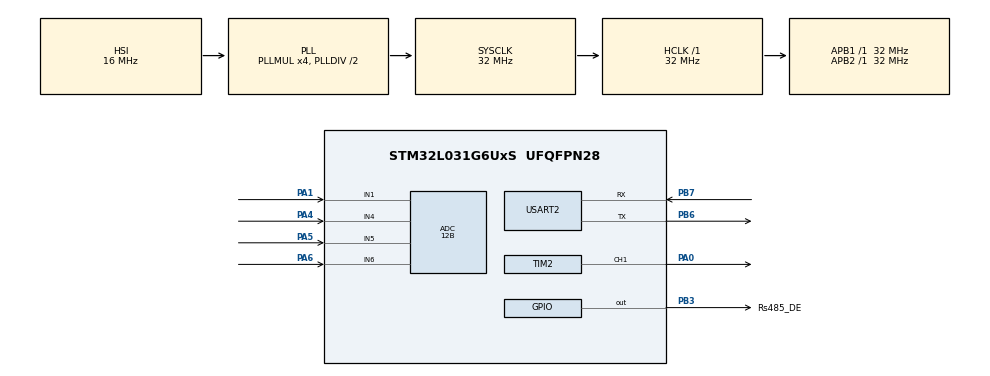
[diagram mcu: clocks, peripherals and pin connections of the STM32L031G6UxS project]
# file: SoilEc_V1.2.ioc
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ADC.ClockPrescaler=ADC_CLOCK_SYNC_PCLK_DIV2
ADC.ContinuousConvMode=DISABLE
ADC.DMAContinuousRequests=DISABLE
ADC.DataAlign=ADC_DATAALIGN_RIGHT
ADC.DiscontinuousConvMode=DISABLE
ADC.EOCSelection=ADC_EOC_SINGLE_CONV
ADC.EnableAnalogWatchDog=false
ADC.ExternalTrigConv=ADC_SOFTWARE_START
ADC.ExternalTrigConvEdge=ADC_EXTERNALTRIGCONVEDGE_NONE
ADC.LowPowerAutoPowerOff=DISABLE
ADC.LowPowerAutoWait=DISABLE
ADC.LowPowerFrequencyMode=DISABLE
ADC.Overrun=ADC_OVR_DATA_PRESERVED
ADC.OversamplingMode=DISABLE
ADC.Resolution=ADC_RESOLUTION_12B
ADC.SamplingTime=ADC_SAMPLETIME_19CYCLES_5
ADC.ScanConvMode=ADC_SCAN_DIRECTION_FORWARD
Dma.ADC.1.Direction=DMA_PERIPH_TO_MEMORY
Dma.ADC.1.Instance=DMA1_Channel1
Dma.ADC.1.MemDataAlignment=DMA_MDATAALIGN_WORD
Dma.ADC.1.MemInc=DMA_MINC_ENABLE
Dma.ADC.1.Mode=DMA_NORMAL
Dma.ADC.1.PeriphDataAlignment=DMA_PDATAALIGN_WORD
Dma.ADC.1.PeriphInc=DMA_PINC_DISABLE
Dma.ADC.1.Priority=DMA_PRIORITY_LOW
Dma.Request0=USART2_RX
Dma.Request1=ADC
Dma.USART2_RX.0.Direction=DMA_PERIPH_TO_MEMORY
Dma.USART2_RX.0.Instance=DMA1_Channel5
Dma.USART2_RX.0.MemDataAlignment=DMA_MDATAALIGN_BYTE
Dma.USART2_RX.0.MemInc=DMA_MINC_ENABLE
Dma.USART2_RX.0.Mode=DMA_NORMAL
Dma.USART2_RX.0.PeriphDataAlignment=DMA_PDATAALIGN_BYTE
Dma.USART2_RX.0.PeriphInc=DMA_PINC_DISABLE
Dma.USART2_RX.0.Priority=DMA_PRIORITY_LOW
Mcu.Family=STM32L0
Mcu.Name=STM32L031G6UxS
Mcu.Package=UFQFPN28
NVIC.DMA1_Channel1_IRQn=true\:0\:0\:false\:true\:true\:1\:false
NVIC.DMA1_Channel4_5_6_7_IRQn=true\:0\:0\:false\:true\:true\:2\:false
NVIC.TIM2_IRQn=true\:2\:0\:true\:false\:true\:true
NVIC.USART2_IRQn=true\:1\:0\:true\:false\:true\:true
PA0-CK_IN.Signal=S_TIM2_CH1
PA1.Mode=IN1
PA1.Signal=ADC_IN1
PA13.Mode=Serial_Wire
PA13.Signal=SYS_SWDIO
PA14.Mode=Serial_Wire
PA14.Signal=SYS_SWCLK
PA4.Mode=IN4
PA4.Signal=ADC_IN4
PA5.Mode=IN5
PA5.Signal=ADC_IN5
PA6.Mode=IN6
PA6.Signal=ADC_IN6
PB3.GPIO_Label=Rs485_DE
PB3.GPIO_Speed=GPIO_SPEED_FREQ_HIGH
PB3.Signal=GPIO_Output
PB6.Mode=Asynchronous
PB6.Signal=USART2_TX
PB7.Mode=Asynchronous
PB7.Signal=USART2_RX
ProjectManager.HeapSize=0x200
ProjectManager.StackSize=0x400
ProjectManager.TargetToolchain=MDK-ARM V5
RCC.AHBFreq_Value=32000000
RCC.APB1Freq_Value=32000000
RCC.APB1TimFreq_Value=32000000
RCC.APB2Freq_Value=32000000
RCC.APB2TimFreq_Value=32000000
RCC.HCLKFreq_Value=32000000
RCC.HSE_VALUE=8000000
RCC.HSI16_VALUE=16000000
RCC.HSI_VALUE=16000000
RCC.LSE_VALUE=32768
RCC.MSI_VALUE=2097000
RCC.PLLMUL=RCC_PLLMUL_4
RCC.SYSCLKFreq_VALUE=32000000
RCC.SYSCLKSource=RCC_SYSCLKSOURCE_PLLCLK
RCC.VCOOutputFreq_Value=64000000
SH.S_TIM2_CH1.0=TIM2_CH1,PWM Generation1 CH1
TIM2.Channel-PWM\ Generation1\ CH1=TIM_CHANNEL_1
TIM2.Period=200-1
TIM2.Prescaler=400-1
TIM2.Pulse-PWM\ Generation1\ CH1=199/10
USART2.VirtualMode-Asynchronous=VM_ASYNC
VP_ADC_Vref_Input.Mode=IN-Vrefint
VP_TIM2_VS_ClockSourceINT.Mode=Internal
board=custom

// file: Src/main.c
/**
  ******************************************************************************
  * @file           : main.c
  * @brief          : Main program body
  ******************************************************************************
  ** This notice applies to any and all portions of this file
  * that are not between comment pairs USER CODE BEGIN and
  * USER CODE END. Other portions of this file, whether
  * inserted by the user or by software development tools
  * are owned by their respective copyright owners.
  *
  * COPYRIGHT(c) 2018 STMicroelectronics
  *
  * Redistribution and use in source and binary forms, with or without modification,
  * are permitted provided that the following conditions are met:
  *   1. Redistributions of source code must retain the above copyright notice,
  *      this list of conditions and the following disclaimer.
  *   2. Redistributions in binary form must reproduce the above copyright notice,
  *      this list of conditions and the following disclaimer in the documentation
  *      and/or other materials provided with the distribution.
  *   3. Neither the name of STMicroelectronics nor the names of its contributors
  *      may be used to endorse or promote products derived from this software
  *      without specific prior written permission.
  *
  * THIS SOFTWARE IS PROVIDED BY THE COPYRIGHT HOLDERS AND CONTRIBUTORS "AS IS"
  * AND ANY EXPRESS OR IMPLIED WARRANTIES, INCLUDING, BUT NOT LIMITED TO, THE
  * IMPLIED WARRANTIES OF MERCHANTABILITY AND FITNESS FOR A PARTICULAR PURPOSE ARE
  * DISCLAIMED. IN NO EVENT SHALL THE COPYRIGHT HOLDER OR CONTRIBUTORS BE LIABLE
  * FOR ANY DIRECT, INDIRECT, INCIDENTAL, SPECIAL, EXEMPLARY, OR CONSEQUENTIAL
  * DAMAGES (INCLUDING, BUT NOT LIMITED TO, PROCUREMENT OF SUBSTITUTE GOODS OR
  * SERVICES; LOSS OF USE, DATA, OR PROFITS; OR BUSINESS INTERRUPTION) HOWEVER
  * CAUSED AND ON ANY THEORY OF LIABILITY, WHETHER IN CONTRACT, STRICT LIABILITY,
  * OR TORT (INCLUDING NEGLIGENCE OR OTHERWISE) ARISING IN ANY WAY OUT OF THE USE
  * OF THIS SOFTWARE, EVEN IF ADVISED OF THE POSSIBILITY OF SUCH DAMAGE.
  *
  ******************************************************************************
  */
#include "main.h"
#include "stm32l0xx_hal.h"
#include "adc.h"
#include "dma.h"
#include "tim.h"
#include "usart.h"
#include "gpio.h"

/* USER CODE BEGIN Includes */

#include <string.h>
#include <math.h>

#include "user_app.h"

/* USER CODE END Includes */

/* USER CODE BEGIN PV */
/* Private variables ---------------------------------------------------------*/

/* USER CODE END PV */

void SystemClock_Config(void);
static void MX_NVIC_Init(void);

/* USER CODE BEGIN PFP */
/* Private function prototypes -----------------------------------------------*/

/* USER CODE END PFP */

int main(void)
{
  /* USER CODE BEGIN 1 */
	uint32_t Time = 0;

  /* USER CODE END 1 */

  /* MCU Configuration----------------------------------------------------------*/

  /* Reset of all peripherals, Initializes the Flash interface and the Systick. */
  HAL_Init();

  /* Configure the system clock */
  SystemClock_Config();

  /* Initialize all configured peripherals */
  MX_GPIO_Init();
  MX_DMA_Init();
  MX_USART2_UART_Init();
  MX_ADC_Init();
  MX_TIM2_Init();

  /* Initialize interrupts */
  MX_NVIC_Init();
  /* USER CODE BEGIN 2 */

	HAL_UART_Receive_DMA(&huart2,UART_RX_UART2.USART_RX_BUF,MAXSIZE);
	__HAL_UART_ENABLE_IT(&huart2,UART_IT_IDLE);

	HAL_TIM_Base_Start_IT(&htim2);
	HAL_TIM_PWM_Start(&htim2,TIM_CHANNEL_1);

	Rs485Init(  );

  /* USER CODE END 2 */

  /* Infinite loop */
  while (1)
  {

  /* USER CODE BEGIN 3 */
		RS485_TO_TX(  );

		Time = HAL_GetTick(  );
		AdcHandle(  );

		RS485_TO_RX(  );

#if 1

		if(UART_RX_UART2.USART_RX_Len)
		{
			Time = HAL_GetTick(  );

			Rs485RevceHandle( SensorData );
			RS485_TO_RX(  );
		}

#endif

		HAL_Delay(1000 - (HAL_GetTick(  ) - Time));

  }
  /* USER CODE END 3 */

}

void SystemClock_Config(void)
{

  RCC_OscInitTypeDef RCC_OscInitStruct;
  RCC_ClkInitTypeDef RCC_ClkInitStruct;
  RCC_PeriphCLKInitTypeDef PeriphClkInit;

    /**Configure the main internal regulator output voltage
    */
  __HAL_PWR_VOLTAGESCALING_CONFIG(PWR_REGULATOR_VOLTAGE_SCALE1);

    /**Initializes the CPU, AHB and APB busses clocks
    */
  RCC_OscInitStruct.OscillatorType = RCC_OSCILLATORTYPE_HSI;
  RCC_OscInitStruct.HSIState = RCC_HSI_ON;
  RCC_OscInitStruct.HSICalibrationValue = 16;
  RCC_OscInitStruct.PLL.PLLState = RCC_PLL_ON;
  RCC_OscInitStruct.PLL.PLLSource = RCC_PLLSOURCE_HSI;
  RCC_OscInitStruct.PLL.PLLMUL = RCC_PLLMUL_4;
  RCC_OscInitStruct.PLL.PLLDIV = RCC_PLLDIV_2;
  if (HAL_RCC_OscConfig(&RCC_OscInitStruct) != HAL_OK)
  {
    _Error_Handler(__FILE__, __LINE__);
  }

    /**Initializes the CPU, AHB and APB busses clocks
    */
  RCC_ClkInitStruct.ClockType = RCC_CLOCKTYPE_HCLK|RCC_CLOCKTYPE_SYSCLK
                              |RCC_CLOCKTYPE_PCLK1|RCC_CLOCKTYPE_PCLK2;
  RCC_ClkInitStruct.SYSCLKSource = RCC_SYSCLKSOURCE_PLLCLK;
  RCC_ClkInitStruct.AHBCLKDivider = RCC_SYSCLK_DIV1;
  RCC_ClkInitStruct.APB1CLKDivider = RCC_HCLK_DIV1;
  RCC_ClkInitStruct.APB2CLKDivider = RCC_HCLK_DIV1;

  if (HAL_RCC_ClockConfig(&RCC_ClkInitStruct, FLASH_LATENCY_1) != HAL_OK)
  {
    _Error_Handler(__FILE__, __LINE__);
  }

  PeriphClkInit.PeriphClockSelection = RCC_PERIPHCLK_USART2;
  PeriphClkInit.Usart2ClockSelection = RCC_USART2CLKSOURCE_PCLK1;
  if (HAL_RCCEx_PeriphCLKConfig(&PeriphClkInit) != HAL_OK)
  {
    _Error_Handler(__FILE__, __LINE__);
  }

    /**Configure the Systick interrupt time
    */
  HAL_SYSTICK_Config(HAL_RCC_GetHCLKFreq()/1000);

    /**Configure the Systick
    */
  HAL_SYSTICK_CLKSourceConfig(SYSTICK_CLKSOURCE_HCLK);

  /* SysTick_IRQn interrupt configuration */
  HAL_NVIC_SetPriority(SysTick_IRQn, 0, 0);
}

/**
  * @brief NVIC Configuration.
  * @retval None
  */
static void MX_NVIC_Init(void)
{
  /* DMA1_Channel1_IRQn interrupt configuration */
  HAL_NVIC_SetPriority(DMA1_Channel1_IRQn, 1, 0);
  HAL_NVIC_EnableIRQ(DMA1_Channel1_IRQn);
  /* DMA1_Channel4_5_6_7_IRQn interrupt configuration */
  HAL_NVIC_SetPriority(DMA1_Channel4_5_6_7_IRQn, 3, 0);
  HAL_NVIC_EnableIRQ(DMA1_Channel4_5_6_7_IRQn);
}

void _Error_Handler(char *file, int line)
{
  while(1)
  {
  }
}

/************************ (C) COPYRIGHT STMicroelectronics *****END OF FILE****/
